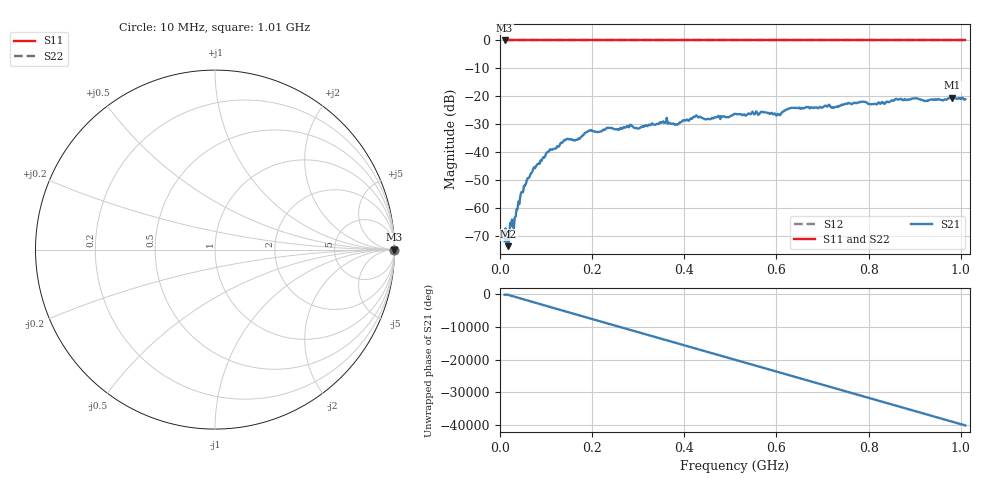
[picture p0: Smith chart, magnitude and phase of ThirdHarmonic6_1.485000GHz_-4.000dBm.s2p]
! 8/16/2025 5:22:15 PM
! C:\ANRITSUVNA\TEMP\TEMP.S2P
! CHANNEL.1
! TR.MEASUREMENT
! RAW.DATA
! RF.CORRECTION.OFF
! AVERAGING.OFF
! IF.BANDWIDTH: 5KHZ
! SWEEPTYPE:  FREQ.SWEEP(Linear)
! Reference Plane Port Info
! PORT:  PORT1  PORT2
! DISTANCE:  0  m  0  m
! TIME:  0  s  0  s
! PHASE.OFFSET:  0  deg.  0  deg.
! LOSS:  0  dB  0  dB
! REF.LOSS:  0  dB  0  dB
! REF.FREQ:  0  Hz  0  Hz
! Power Info
! POWER:  -20  dBm  -20  dBm
! EFF.POWER:  -20  dBm  -20  dBm
! SOURCE.ATTEN:  0  dB  0  dB
! TEST.ATTEN:  0  dB  0  dB
# GHZ S RI R 50.0
! FREQ.GHZ  S11RE  S11IM  S21RE  S21IM  S12RE  S12IM  S22RE  S22IM
!; PortSelection: Port_12
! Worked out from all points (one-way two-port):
!   501 points, 10 MHz to 1.01 GHz, reference 50 ohm
!   highest |S21| = -20.41 dB at 982 MHz (marker M1); lowest = -73.5 dB at 18 MHz (marker M2)
!   lowest |S11| = 0.0 dB at 10 MHz (marker M3)
!   |S11| at or under -10 dB: nowhere
!   |S22| runs from 0.0 to 0.0 dB; largest |S21 - S12| = 1.1
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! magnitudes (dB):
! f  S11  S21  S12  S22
! 10 MHz  0.0  -71.7  0.0  0.0
! 18 MHz  0.0  -73.5  0.0  0.0
! 24 MHz  0.0  -66.3  0.0  0.0
! 32 MHz  0.0  -63.2  0.0  0.0
! 48 MHz  0.0  -54.1  0.0  0.0
! 76 MHz  0.0  -45.6  0.0  0.0
! 106 MHz  0.0  -39.6  0.0  0.0
! 142 MHz  0.0  -35.6  0.0  0.0
! 178 MHz  0.0  -34.1  0.0  0.0
! 194 MHz  0.0  -32.2  0.0  0.0
! 300 MHz  0.0  -31.5  0.0  0.0
! 344 MHz  0.0  -29.9  0.0  0.0
! 382 MHz  0.0  -30.0  0.0  0.0
! 424 MHz  0.0  -27.2  0.0  0.0
! 452 MHz  0.0  -28.0  0.0  0.0
! 510 MHz  0.0  -26.2  0.0  0.0
! 604 MHz  0.0  -26.3  0.0  0.0
! 630 MHz  0.0  -24.2  0.0  0.0
! 678 MHz  0.0  -24.0  0.0  0.0
! 844 MHz  0.0  -22.0  0.0  0.0
! 982 MHz  0.0  -20.4  0.0  0.0
! 1.01 GHz  0.0  -21.0  0.0  0.0
